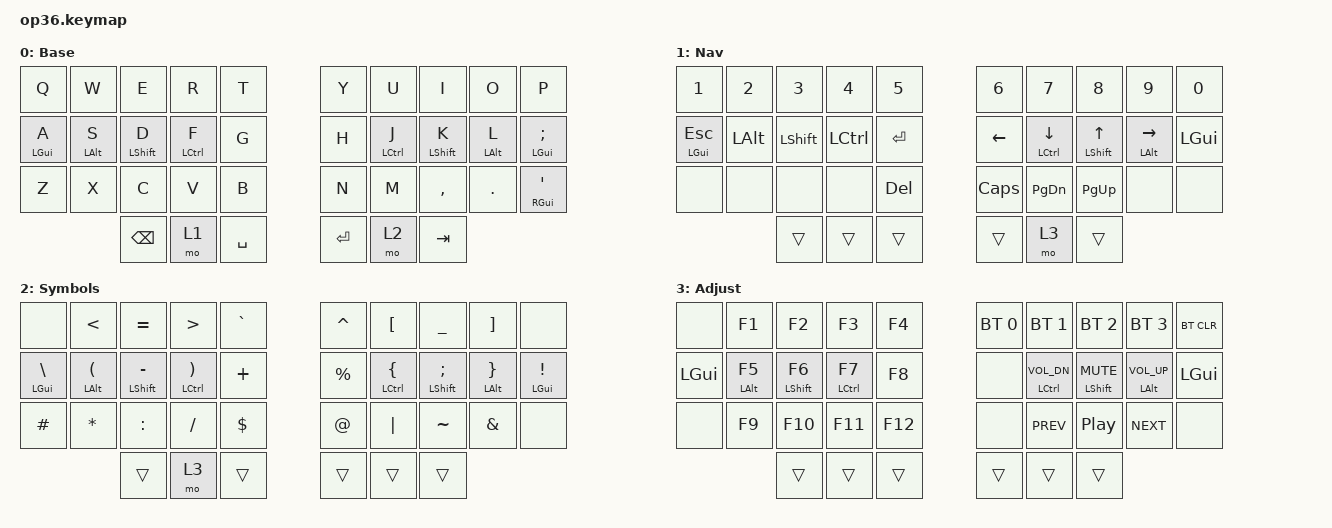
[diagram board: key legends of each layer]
#include <behaviors.dtsi>
#include <dt-bindings/zmk/bt.h>
#include <dt-bindings/zmk/keys.h>

&mt {
    quick-tap-ms = <200>;
    flavor = "tap-preferred";
    require-prior-idle-ms = <125>;
};

/ {
    behaviors {
        hml: home_row_mod_left {
            compatible = "zmk,behavior-hold-tap";
            #binding-cells = <2>;
            flavor = "balanced";
            require-prior-idle-ms = <150>;
            tapping-term-ms = <280>;
            quick-tap-ms = <175>;
            bindings = <&kp>, <&kp>;

            hold-trigger-key-positions = <5 6 7 8 9 15 16 17 18 19 25 26 27 28 29 33 34 35>;
            hold-trigger-on-release;
        };

        hmr: home_row_mod_right {
            compatible = "zmk,behavior-hold-tap";
            #binding-cells = <2>;
            flavor = "balanced";
            require-prior-idle-ms = <150>;
            tapping-term-ms = <280>;
            quick-tap-ms = <175>;
            bindings = <&kp>, <&kp>;

            hold-trigger-key-positions = <0 1 2 3 4 10 11 12 13 14 20 21 22 23 24 30 31 32>;
            hold-trigger-on-release;
        };
    };

    combos {
        compatible = "zmk,combos";

        kha {
            bindings = <&kp LBKT>;
            key-positions = <6 7>;
        };

        hrdsgn {
            bindings = <&kp RBKT>;
            key-positions = <7 8>;
        };
    };

    keymap {
        compatible = "zmk,keymap";

        base {
            bindings = <
  &kp Q        &kp W        &kp E         &kp R          &kp T                          &kp Y  &kp U         &kp I              &kp O        &kp P
  &hml LGUI A  &hml LALT S  &hml LSHFT D  &hml LCTRL F   &kp G                          &kp H  &hmr LCTRL J  &hmr LEFT_SHIFT K  &hmr LALT L  &hmr LEFT_GUI SEMICOLON
  &kp Z        &kp X        &kp C         &kp V          &kp B                          &kp N  &kp M         &kp COMMA          &kp DOT      &hmr RIGHT_GUI SQT
                                          &kp BACKSPACE  &mo 1  &kp SPACE    &kp ENTER  &mo 2  &kp TAB
            >;

            display-name = "Base";
        };

        nav {
            bindings = <
  &kp N1         &kp N2    &kp N3     &kp N4     &kp N5                        &kp N6    &kp N7           &kp N8          &kp N9           &kp N0
  &hml LGUI ESC  &kp LALT  &kp LSHFT  &kp LCTRL  &kp ENTER                     &kp LEFT  &hmr LCTRL DOWN  &hmr LSHIFT UP  &hmr LALT RIGHT  &kp LEFT_GUI
  &none          &none     &none      &none      &kp DELETE                    &kp CAPS  &kp PAGE_DOWN    &kp PAGE_UP     &none            &none
                                      &trans     &trans      &trans    &trans  &mo 3     &trans
            >;

            display-name = "Nav";
        };

        sym {
            bindings = <
  &none           &kp LT          &kp EQUAL         &kp GT           &kp GRAVE                     &kp CARET  &kp LBKT         &kp UNDER         &kp RBKT        &none
  &hml LGUI BSLH  &hml LALT LPAR  &hml LSHFT MINUS  &hml LCTRL RPAR  &kp PLUS                      &kp PRCNT  &hmr LCTRL LBRC  &hmr LSHIFT SEMI  &hmr LALT RBRC  &hmr LEFT_GUI EXCL
  &kp HASH        &kp STAR        &kp COLON         &kp FSLH         &kp DOLLAR                    &kp AT     &kp PIPE         &kp TILDE         &kp AMPS        &none
                                                    &trans           &mo 3       &trans    &trans  &trans     &trans
            >;

            display-name = "Symbols";
        };

        adj {
            bindings = <
  &none     &kp F1        &kp F2         &kp F3         &kp F4                     &bt BT_SEL 0  &bt BT_SEL 1         &bt BT_SEL 2       &bt BT_SEL 3        &bt BT_CLR
  &kp LGUI  &hml LALT F5  &hml LSHFT F6  &hml LCTRL F7  &kp F8                     &none         &hmr LCTRL C_VOL_DN  &hmr LSHFT C_MUTE  &hmr LALT C_VOL_UP  &kp LEFT_GUI
  &none     &kp F9        &kp F10        &kp F11        &kp F12                    &none         &kp C_PREV           &kp C_PP           &kp C_NEXT          &none
                                         &trans         &trans   &trans    &trans  &trans        &trans
            >;

            display-name = "Adjust";
        };
    };
};
